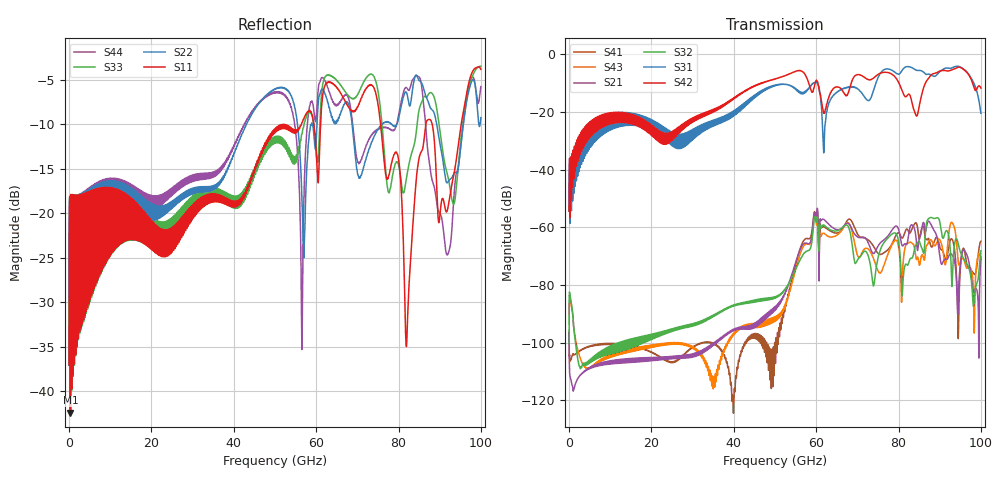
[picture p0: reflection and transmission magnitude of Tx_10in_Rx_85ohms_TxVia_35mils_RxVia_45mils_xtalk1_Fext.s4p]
! Info: Touchstone file created by Circ.  Input file=Tx_10in_Rx_85ohms_TxVia_35mils_RxVia_45mils.circ
# Hz S RI R 50
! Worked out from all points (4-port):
!   10000 points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, 10 MHz to 100 GHz, reference 50 ohm
!   strongest paths, dB at 10 MHz, 25.01 GHz, 50.01 GHz, 75.01 GHz, 100 GHz:
!     S42: -54.3, -29.8, -8.5, -7.0, -11.7
!     S31: -54.4, -31.2, -10.7, -8.1, -20.4
!     S32: -100.4, -95.2, -84.2, -70.7, -68.2
!     S21: -96.5, -104.8, -88.0, -66.6, -70.3
!     S43: -93.6, -100.0, -91.4, -75.1, -71.2
!     S41: -95.7, -107.0, -100.9, -69.1, -64.9
!   lowest |S11| = -42.4 dB at 320 MHz (marker M1), VSWR 1.02, Z = 49.3 - j0.359 ohm
!   |S11| at or under -10 dB: start of sweep to 56.39 GHz; 75.65 GHz to 86.63 GHz (10.98 GHz wide, 13.5 % of centre); 88.18 GHz to 95.21 GHz (7.032 GHz wide, 7.67 % of centre) (the widest 3 of 4)
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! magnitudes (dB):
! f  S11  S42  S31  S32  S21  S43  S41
! 10 MHz  -37.0  -54.3  -54.4  -100.4  -96.5  -93.6  -95.7
! 320 MHz  -42.4  -43.1  -43.1  -84.4  -112.3  -85.3  -106.3
! 59.91 GHz  -12.3  -9.3  -9.6  -57.5  -55.9  -57.8  -55.8
! 73.27 GHz  -5.6  -8.8  -15.2  -74.1  -67.7  -68.7  -65.2
! 81.99 GHz  -34.6  -14.5  -4.2  -72.9  -66.0  -65.6  -60.6
! 91.89 GHz  -19.6  -5.8  -4.7  -61.5  -71.0  -66.5  -69.4
! 100 GHz  -3.8  -11.7  -20.4  -68.2  -70.3  -71.2  -64.9
